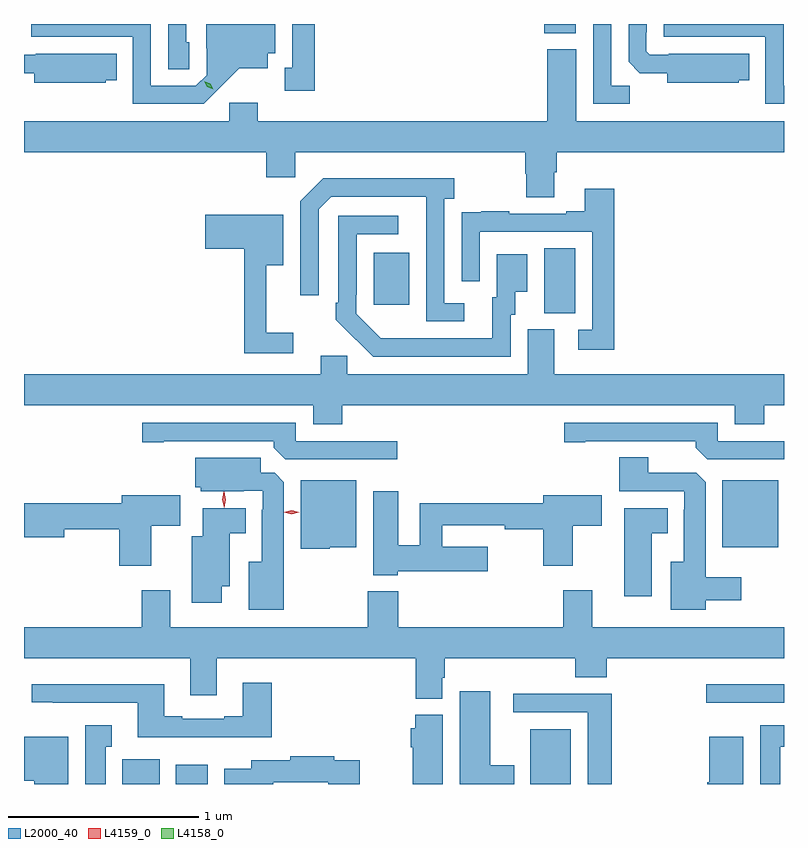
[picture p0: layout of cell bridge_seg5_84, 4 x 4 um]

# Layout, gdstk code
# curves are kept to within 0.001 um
import gdstk
lib = gdstk.Library(unit=1e-6, precision=1e-09)
def R(c, l, rs):  # rectangles x0, y0, x1, y1
    for r in rs: c.add(gdstk.rectangle(r[:2], r[2:], *l))
def P(c, l, *ps):  # polygons
    for p in ps: c.add(gdstk.Polygon(p, *l))
L2000_40 = (2000, 40)
L4158_0 = (4158, 0)
L4159_0 = (4159, 0)

bridge_seg5_84 = lib.new_cell('bridge_seg5_84')
R(bridge_seg5_84, L2000_40, [(124.514,910.711,124.711,910.84), (124.796,910.711,124.963,910.813), (126.662,910.711,126.874,910.999), (127.587,911.139,127.997,911.236), (127.673,911.957,127.966,912.31), (126.734,913.189,126.898,913.532), (125.837,913.233,126.025,913.507), (126.734,914.663,126.901,914.711)])
P(bridge_seg5_84, L2000_40, [(127.758,914.414),(127.814,914.414),(127.814,914.554),(127.39,914.554),(127.39,914.55),(127.29,914.55),(127.272,914.568),(127.272,914.668),(127.275,914.668),(127.275,914.711),(127.179,914.711),(127.179,914.512),(127.238,914.453),(127.382,914.453),(127.382,914.402),(127.758,914.402)],
  [(125.026,914.375),(125.129,914.477),(125.281,914.477),(125.281,914.556),(125.32,914.556),(125.32,914.711),(124.955,914.711),(124.955,914.584),(124.959,914.584),(124.959,914.442),(124.902,914.385),(124.665,914.385),(124.665,914.711),(124.035,914.711),(124.035,914.643),(124.569,914.643),(124.569,914.292),(124.942,914.292)],
  [(127.185,914.387),(127.089,914.387),(127.089,914.711),(126.993,914.711),(126.993,914.292),(127.185,914.292)],
  [(125.527,914.711),(125.408,914.711),(125.408,914.481),(125.369,914.481),(125.369,914.361),(125.527,914.361)],
  [(124.866,914.616),(124.851,914.616),(124.851,914.711),(124.755,914.711),(124.755,914.473),(124.866,914.473)],
  [(127.997,914.385),(127.995,914.385),(127.995,914.711),(127.365,914.711),(127.365,914.643),(127.899,914.643),(127.899,914.292),(127.997,914.292)],
  [(126.787,913.93),(126.8,913.93),(126.8,914.036),(127.997,914.036),(127.997,914.2),(126.904,914.2),(126.904,914.578),(126.752,914.578),(126.752,914.2),(125.228,914.2),(125.228,914.296),(125.076,914.296),(125.076,914.2),(123.997,914.2),(123.997,914.036),(125.273,914.036),(125.273,913.905),(125.424,913.905),(125.424,914.036),(126.635,914.036),(126.635,913.923),(126.64,913.923),(126.64,913.798),(126.787,913.798)],
  [(124.428,914.414),(124.484,914.414),(124.484,914.554),(124.06,914.554),(124.06,914.55),(123.997,914.55),(123.997,914.453),(124.052,914.453),(124.052,914.402),(124.428,914.402)],
  [(126.313,913.242),(126.21,913.242),(126.21,913.79),(126.262,913.79),(126.262,913.9),(125.572,913.9),(125.451,913.779),(125.451,913.284),(125.547,913.284),(125.547,913.737),(125.613,913.803),(126.113,913.803),(126.114,913.146),(126.313,913.146)],
  [(127.103,913.843),(126.947,913.843),(126.947,913.726),(126.851,913.726),(126.851,913.713),(126.551,913.713),(126.551,913.726),(126.403,913.726),(126.403,913.719),(126.301,913.719),(126.301,913.61),(126.3,913.61),(126.3,913.356),(126.396,913.356),(126.396,913.617),(126.987,913.617),(126.987,913.101),(126.915,913.101),(126.915,912.996),(127.103,912.996)],
  [(125.413,913.087),(125.273,913.087),(125.273,913.442),(125.362,913.442),(125.362,913.707),(124.95,913.707),(124.95,913.529),(125.155,913.529),(125.155,912.978),(125.413,912.978)],
  [(126.558,913.182),(126.583,913.182),(126.583,913.301),(126.646,913.301),(126.646,913.498),(126.485,913.498),(126.485,913.272),(126.461,913.272),(126.461,913.056),(125.874,913.057),(125.745,913.185),(125.745,913.285),(125.748,913.285),(125.748,913.605),(125.968,913.605),(125.968,913.701),(125.652,913.701),(125.652,913.243),(125.637,913.243),(125.637,913.155),(125.834,912.96),(126.558,912.96)],
  [(125.672,912.704),(127.739,912.704),(127.739,912.605),(127.892,912.605),(127.892,912.704),(127.997,912.704),(127.997,912.868),(126.787,912.868),(126.787,913.104),(126.647,913.104),(126.647,912.868),(125.697,912.868),(125.697,912.966),(125.558,912.966),(125.558,912.868),(123.997,912.868),(123.997,912.704),(125.519,912.704),(125.519,912.605),(125.672,912.605)],
  [(125.962,912.516),(125.427,912.516),(125.427,912.612),(124.62,912.612),(124.62,912.511),(124.732,912.511),(124.732,912.516),(125.312,912.516),(125.312,912.482),(125.373,912.42),(125.962,912.42)],
  [(127.997,912.516),(127.647,912.516),(127.647,912.612),(126.84,912.612),(126.84,912.511),(126.952,912.511),(126.952,912.516),(127.532,912.516),(127.532,912.482),(127.593,912.42),(127.997,912.42)],
  [(127.585,911.678),(127.771,911.678),(127.771,911.8),(127.585,911.8),(127.585,912.299),(127.536,912.348),(127.282,912.348),(127.282,912.431),(127.13,912.431),(127.13,912.252),(127.473,912.252),(127.473,912.155),(127.469,912.155),(127.469,911.881),(127.4,911.881),(127.4,911.627),(127.585,911.627)],
  [(125.365,912.299),(125.316,912.348),(125.242,912.348),(125.242,912.427),(124.898,912.427),(124.898,912.273),(124.926,912.273),(124.926,912.251),(125.153,912.251),(125.153,912.255),(125.253,912.255),(125.253,912.155),(125.249,912.155),(125.249,911.881),(125.18,911.881),(125.18,911.627),(125.365,911.627)],
  [(125.607,911.957),(125.746,911.957),(125.746,912.31),(125.453,912.31),(125.453,911.948),(125.607,911.948)],
  [(125.964,911.83),(126.439,911.83),(126.439,911.959),(126.197,911.959),(126.197,912.072),(126.526,912.072),(126.526,912.052),(126.731,912.052),(126.731,911.859),(126.886,911.859),(126.886,912.07),(127.039,912.07),(127.039,912.232),(126.731,912.232),(126.731,912.188),(126.081,912.188),(126.081,911.967),(125.968,911.967),(125.968,912.253),(125.834,912.253),(125.834,911.81),(125.964,911.81)],
  [(124.666,912.07),(124.819,912.07),(124.819,912.232),(124.511,912.232),(124.511,912.188),(123.997,912.188),(123.997,912.01),(124.21,912.01),(124.21,912.052),(124.499,912.052),(124.499,911.859),(124.666,911.859)],
  [(125.038,911.753),(125.08,911.753),(125.08,912.032),(125.164,912.032),(125.164,912.163),(124.937,912.163),(124.937,912.016),(124.88,912.016),(124.88,911.664),(125.038,911.664)],
  [(127.3,912.032),(127.384,912.032),(127.384,912.163),(127.157,912.163),(127.157,911.7),(127.3,911.7)],
  [(125.966,911.725),(125.806,911.725),(125.806,911.536),(124.768,911.536),(124.768,911.731),(124.616,911.731),(124.616,911.536),(123.997,911.536),(123.997,911.372),(124.871,911.372),(124.871,911.178),(125.011,911.178),(125.011,911.372),(126.059,911.372),(126.059,911.161),(126.199,911.161),(126.199,911.271),(126.212,911.271),(126.212,911.372),(126.899,911.372),(126.899,911.273),(127.064,911.273),(127.064,911.372),(127.997,911.372),(127.997,911.536),(126.988,911.536),(126.988,911.731),(126.836,911.731),(126.836,911.536),(125.966,911.536)],
  [(125.3,911.245),(125.147,911.245),(125.147,911.068),(125.051,911.068),(125.051,911.055),(124.831,911.055),(124.831,911.068),(124.735,911.068),(124.735,911.236),(124.038,911.236),(124.038,911.141),(124.147,911.141),(124.147,911.139),(124.595,911.139),(124.595,910.958),(125.3,910.958)],
  [(126.577,910.81),(126.451,910.81),(126.451,911.2),(126.29,911.2),(126.29,910.711),(126.577,910.711)],
  [(127.091,911.186),(126.573,911.186),(126.573,911.088),(126.965,911.088),(126.965,910.711),(127.091,910.711)],
  [(126.202,911.076),(126.056,911.076),(126.056,911.004),(126.032,911.004),(126.032,910.904),(126.044,910.904),(126.044,910.711),(126.202,910.711)],
  [(124.426,910.907),(124.459,910.907),(124.459,911.02),(124.319,911.02),(124.319,910.711),(124.426,910.711)],
  [(127.978,910.907),(127.997,910.907),(127.997,911.02),(127.871,911.02),(127.871,910.711),(127.978,910.711)],
  [(124.231,910.96),(123.997,910.96),(123.997,910.727),(124.052,910.727),(124.052,910.711),(124.231,910.711)],
  [(127.783,910.96),(127.604,910.96),(127.604,910.72),(127.592,910.72),(127.592,910.711),(127.783,910.711)],
  [(125.31,910.72),(125.599,910.72),(125.599,910.711),(125.764,910.711),(125.764,910.836),(125.63,910.836),(125.63,910.856),(125.398,910.856),(125.398,910.836),(125.192,910.836),(125.192,910.792),(125.051,910.792),(125.051,910.711),(125.31,910.711)])
P(bridge_seg5_84, L4158_0, [(124.993,914.367),(124.962,914.382),(124.945,914.411),(124.945,914.411),(124.945,914.411),(124.976,914.396),(124.993,914.367),(124.993,914.367)])
P(bridge_seg5_84, L4159_0, [(125.405,912.131),(125.364,912.14),(125.364,912.14),(125.364,912.14),(125.405,912.151),(125.446,912.142),(125.446,912.141),(125.446,912.141)],
  [(125.05,912.166),(125.05,912.166),(125.04,912.207),(125.049,912.248),(125.049,912.248),(125.05,912.248),(125.059,912.207),(125.05,912.166)])

lib.write_gds('bridge_seg5_84.gds')
